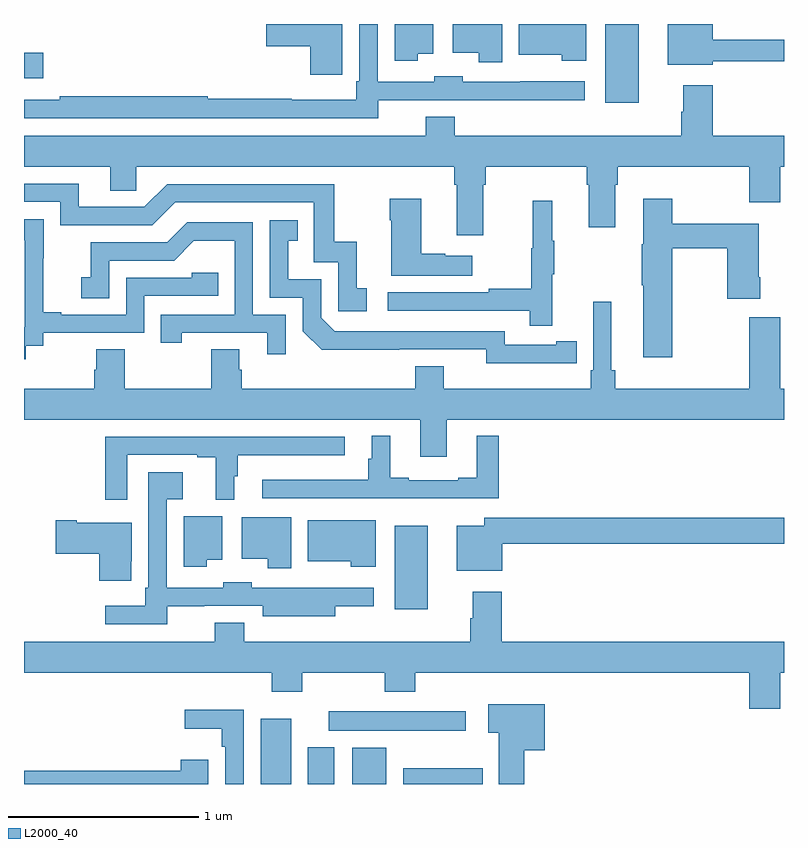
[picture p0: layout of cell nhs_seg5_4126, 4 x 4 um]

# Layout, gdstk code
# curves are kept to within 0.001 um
import gdstk
lib = gdstk.Library(unit=1e-6, precision=1e-09)
def R(c, l, rs):  # rectangles x0, y0, x1, y1
    for r in rs: c.add(gdstk.rectangle(r[:2], r[2:], *l))
def P(c, l, *ps):  # polygons
    for p in ps: c.add(gdstk.Polygon(p, *l))
L2000_40 = (2000, 40)

nhs_seg5_4126 = lib.new_cell('nhs_seg5_4126')
R(nhs_seg5_4126, L2000_40, [(354.245,898.799,354.406,899.143), (354.494,898.799,354.634,898.993), (354.728,898.799,354.907,898.99), (354.995,898.799,355.414,898.883), (354.603,899.078,355.324,899.182), (354.95,899.72,355.126,900.157), (356.06,902.384,356.236,902.799), (353,902.513,353.101,902.648)])
P(nhs_seg5_4126, L2000_40, [(354.675,902.635),(354.676,902.635),(354.676,902.799),(354.276,902.799),(354.276,902.681),(354.506,902.681),(354.506,902.532),(354.675,902.532)],
  [(355.96,902.799),(355.604,902.799),(355.604,902.636),(355.831,902.636),(355.831,902.606),(355.96,902.606)],
  [(355.072,902.642),(355.153,902.642),(355.153,902.799),(354.95,902.799),(354.95,902.606),(355.072,902.606)],
  [(354.864,902.399),(355.951,902.399),(355.951,902.497),(355.612,902.497),(355.612,902.496),(355.308,902.496),(355.308,902.524),(355.158,902.524),(355.158,902.496),(354.861,902.496),(354.861,902.799),(354.765,902.799),(354.765,902.497),(354.749,902.497),(354.749,902.401),(354.41,902.401),(354.41,902.405),(353.968,902.405),(353.968,902.42),(353.188,902.42),(353.188,902.4),(353,902.4),(353,902.304),(354.864,902.304)],
  [(355.516,902.799),(355.256,902.799),(355.256,902.648),(355.394,902.648),(355.394,902.598),(355.516,902.598)],
  [(356.626,902.604),(357,902.604),(357,902.715),(356.626,902.715),(356.626,902.799),(356.387,902.799),(356.387,902.585),(356.626,902.585)],
  [(355.417,901.952),(355.43,901.952),(355.43,902.048),(355.961,902.048),(355.961,901.952),(355.973,901.952),(355.973,901.728),(356.113,901.728),(356.113,901.952),(356.126,901.952),(356.126,902.048),(356.816,902.048),(356.816,901.86),(356.98,901.86),(356.98,902.048),(357,902.048),(357,902.212),(356.624,902.212),(356.624,902.476),(356.471,902.476),(356.471,902.336),(356.459,902.336),(356.459,902.212),(355.268,902.212),(355.268,902.311),(355.115,902.311),(355.115,902.212),(353,902.212),(353,902.048),(353.453,902.048),(353.453,901.921),(353.592,901.921),(353.592,902.048),(355.265,902.048),(355.265,901.952),(355.277,901.952),(355.277,901.686),(355.417,901.686)],
  [(354.805,901.407),(354.752,901.407),(354.752,901.654),(354.634,901.654),(354.634,901.956),(353.754,901.956),(353.634,901.836),(353.287,901.836),(353.287,901.959),(353,901.959),(353,901.863),(353.19,901.863),(353.19,901.74),(353.676,901.74),(353.796,901.86),(354.525,901.86),(354.525,901.545),(354.654,901.545),(354.654,901.287),(354.805,901.287)],
  [(356.412,901.618),(356.701,901.618),(356.701,901.353),(356.874,901.353),(356.874,901.465),(356.866,901.465),(356.866,901.747),(356.412,901.747),(356.412,901.879),(356.258,901.879),(356.258,901.641),(356.251,901.641),(356.251,901.423),(356.258,901.423),(356.258,901.044),(356.412,901.044)],
  [(355.36,901.579),(355.217,901.579),(355.217,901.589),(355.09,901.589),(355.09,901.879),(354.925,901.879),(354.925,901.766),(354.932,901.766),(354.932,901.475),(355.36,901.475)],
  [(355.781,901.483),(355.792,901.483),(355.792,901.657),(355.781,901.657),(355.781,901.87),(355.678,901.87),(355.678,901.62),(355.671,901.62),(355.671,901.406),(355.447,901.406),(355.447,901.386),(354.915,901.386),(354.915,901.29),(355.663,901.29),(355.663,901.212),(355.781,901.212)],
  [(353.008,901.105),(353.1,901.105),(353.1,901.173),(353.634,901.173),(353.634,901.368),(354.023,901.368),(354.023,901.491),(353.883,901.491),(353.883,901.464),(353.538,901.464),(353.538,901.269),(353.197,901.269),(353.197,901.282),(353.102,901.282),(353.102,901.565),(353.103,901.565),(353.103,901.771),(353,901.771),(353,901.661),(353.003,901.661),(353.003,901.433),(353.004,901.433),(353.004,901.203),(353,901.203),(353,901.035),(353.008,901.035)],
  [(355.802,901.014),(355.91,901.014),(355.91,901.13),(355.802,901.13),(355.802,901.11),(355.53,901.11),(355.53,901.182),(354.636,901.182),(354.564,901.254),(354.564,901.455),(354.391,901.455),(354.391,901.659),(354.44,901.659),(354.44,901.765),(354.294,901.765),(354.294,901.359),(354.468,901.359),(354.468,901.182),(354.566,901.085),(355.434,901.086),(355.434,901.013)],
  [(354.378,901.269),(354.204,901.269),(354.204,901.755),(353.858,901.755),(353.753,901.65),(353.35,901.65),(353.35,901.465),(353.301,901.465),(353.301,901.356),(353.448,901.356),(353.448,901.554),(353.79,901.554),(353.894,901.658),(354.108,901.658),(354.108,901.269),(353.719,901.269),(353.719,901.122),(353.83,901.122),(353.83,901.173),(354.281,901.173),(354.281,901.062),(354.378,901.062)],
  [(355.225,900.716),(357,900.716),(357,900.88),(356.98,900.88),(356.98,901.255),(356.816,901.255),(356.816,900.88),(356.111,900.88),(356.111,900.976),(356.092,900.976),(356.092,901.336),(355.995,901.336),(355.995,900.976),(355.982,900.976),(355.982,900.88),(355.21,900.88),(355.21,900.997),(355.058,900.997),(355.058,900.88),(354.146,900.88),(354.146,900.978),(354.133,900.978),(354.133,901.088),(353.986,901.088),(353.986,900.88),(353.529,900.88),(353.529,901.088),(353.381,901.088),(353.381,900.978),(353.369,900.978),(353.369,900.88),(353,900.88),(353,900.716),(355.085,900.716),(355.085,900.522),(355.225,900.522)],
  [(355.499,900.631),(355.382,900.631),(355.382,900.412),(355.286,900.412),(355.286,900.399),(355.024,900.399),(355.024,900.412),(354.928,900.412),(354.928,900.631),(354.83,900.631),(354.83,900.51),(354.811,900.51),(354.811,900.4),(354.255,900.4),(354.255,900.303),(354.954,900.303),(354.954,900.302),(355.499,900.302)],
  [(353.544,900.531),(353.912,900.531),(353.912,900.519),(354.008,900.519),(354.008,900.294),(354.106,900.294),(354.106,900.42),(354.125,900.42),(354.125,900.53),(354.688,900.53),(354.688,900.627),(353.428,900.627),(353.428,900.294),(353.544,900.294)],
  [(353.754,899.735),(353.948,899.735),(353.948,899.736),(354.257,899.736),(354.257,899.681),(354.637,899.681),(354.637,899.735),(354.841,899.735),(354.841,899.832),(354.533,899.832),(354.533,899.833),(354.198,899.833),(354.198,899.86),(354.048,899.86),(354.048,899.832),(353.751,899.832),(353.751,900.299),(353.836,900.299),(353.836,900.439),(353.655,900.439),(353.655,899.833),(353.639,899.833),(353.639,899.737),(353.427,899.737),(353.427,899.64),(353.754,899.64)],
  [(353.962,899.978),(354.043,899.978),(354.043,900.208),(353.84,900.208),(353.84,899.942),(353.962,899.942)],
  [(354.406,900.202),(354.146,900.202),(354.146,899.984),(354.284,899.984),(354.284,899.934),(354.406,899.934)],
  [(355.516,900.064),(357,900.064),(357,900.2),(355.422,900.2),(355.422,900.157),(355.277,900.157),(355.277,899.921),(355.516,899.921)],
  [(353.565,899.971),(353.566,899.971),(353.566,900.175),(353.278,900.175),(353.278,900.188),(353.166,900.188),(353.166,900.01),(353.396,900.01),(353.396,899.868),(353.565,899.868)],
  [(354.85,900.187),(354.494,900.187),(354.494,899.972),(354.721,899.972),(354.721,899.942),(354.85,899.942)],
  [(356.98,899.384),(357,899.384),(357,899.548),(355.514,899.548),(355.514,899.812),(355.361,899.812),(355.361,899.672),(355.349,899.672),(355.349,899.548),(354.158,899.548),(354.158,899.647),(354.005,899.647),(354.005,899.548),(353,899.548),(353,899.384),(354.305,899.384),(354.305,899.285),(354.465,899.285),(354.465,899.384),(354.898,899.384),(354.898,899.285),(355.058,899.285),(355.058,899.384),(356.816,899.384),(356.816,899.196),(356.98,899.196)],
  [(355.634,898.976),(355.741,898.976),(355.741,899.218),(355.443,899.218),(355.443,899.069),(355.499,899.069),(355.499,898.799),(355.634,898.799)],
  [(354.156,899.189),(353.847,899.189),(353.847,899.09),(354.04,899.09),(354.04,898.994),(354.06,898.994),(354.06,898.799),(354.156,898.799)],
  [(353.971,898.927),(353.825,898.927),(353.825,898.868),(353,898.868),(353,898.799),(353.971,898.799)])

lib.write_gds('nhs_seg5_4126.gds')
